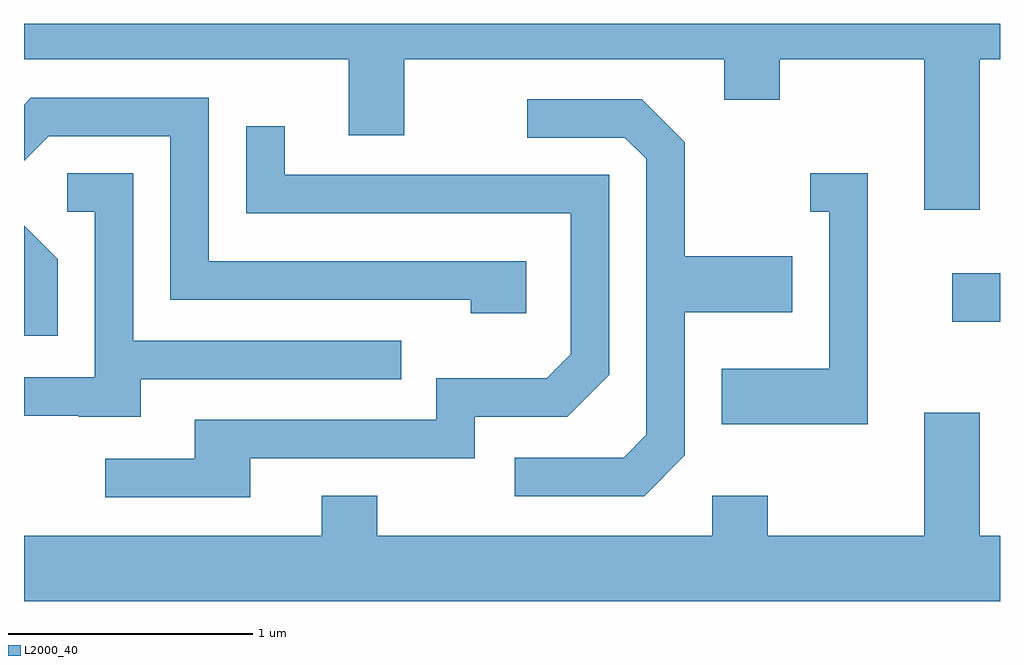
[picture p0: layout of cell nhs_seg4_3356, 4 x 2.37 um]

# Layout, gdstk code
import gdstk
lib = gdstk.Library(unit=1e-6, precision=1e-09)
def R(c, l, rs):  # rectangles x0, y0, x1, y1
    for r in rs: c.add(gdstk.rectangle(r[:2], r[2:], *l))
def P(c, l, *ps):  # polygons
    for p in ps: c.add(gdstk.Polygon(p, *l))
L2000_40 = (2000, 40)

nhs_seg4_3356 = lib.new_cell('nhs_seg4_3356')
R(nhs_seg4_3356, L2000_40, [(287.416,1304.761,287.611,1304.959)])
P(nhs_seg4_3356, L2000_40, [(287.529,1305.836),(287.611,1305.836),(287.611,1305.982),(283.611,1305.982),(283.611,1305.836),(284.941,1305.836),(284.941,1305.526),(285.169,1305.526),(285.169,1305.836),(286.481,1305.836),(286.481,1305.671),(286.709,1305.671),(286.709,1305.836),(287.301,1305.836),(287.301,1305.221),(287.529,1305.221)],
  [(285.669,1305.009),(284.369,1305.009),(284.369,1305.679),(283.639,1305.679),(283.611,1305.651),(283.611,1305.42),(283.712,1305.521),(284.211,1305.521),(284.211,1304.851),(285.441,1304.851),(285.441,1304.796),(285.669,1304.796)],
  [(286.319,1304.214),(286.319,1304.801),(286.759,1304.801),(286.759,1305.029),(286.319,1305.029),(286.319,1305.497),(286.142,1305.674),(285.673,1305.674),(285.673,1305.516),(286.074,1305.516),(286.161,1305.429),(286.161,1304.297),(286.069,1304.204),(285.623,1304.204),(285.623,1304.046),(286.152,1304.046)],
  [(284.539,1304.201),(285.459,1304.201),(285.459,1304.371),(285.837,1304.371),(286.009,1304.544),(286.009,1305.364),(284.679,1305.364),(284.679,1305.563),(284.521,1305.563),(284.521,1305.206),(285.851,1305.206),(285.851,1304.627),(285.754,1304.529),(285.301,1304.529),(285.301,1304.359),(284.311,1304.359),(284.311,1304.199),(283.943,1304.199),(283.943,1304.041),(284.539,1304.041)],
  [(284.089,1304.526),(285.158,1304.526),(285.158,1304.684),(284.059,1304.684),(284.059,1305.369),(283.788,1305.369),(283.788,1305.211),(283.901,1305.211),(283.901,1304.534),(283.611,1304.534),(283.611,1304.376),(283.835,1304.376),(283.835,1304.371),(284.089,1304.371)],
  [(287.069,1305.369),(286.833,1305.369),(286.833,1305.211),(286.911,1305.211),(286.911,1304.569),(286.471,1304.569),(286.471,1304.341),(287.069,1304.341)],
  [(283.749,1305.017),(283.611,1305.155),(283.611,1304.703),(283.749,1304.703)],
  [(287.611,1303.884),(287.529,1303.884),(287.529,1304.389),(287.301,1304.389),(287.301,1303.884),(286.659,1303.884),(286.659,1304.049),(286.431,1304.049),(286.431,1303.884),(285.059,1303.884),(285.059,1304.049),(284.831,1304.049),(284.831,1303.884),(283.611,1303.884),(283.611,1303.616),(287.611,1303.616)])

lib.write_gds('nhs_seg4_3356.gds')
